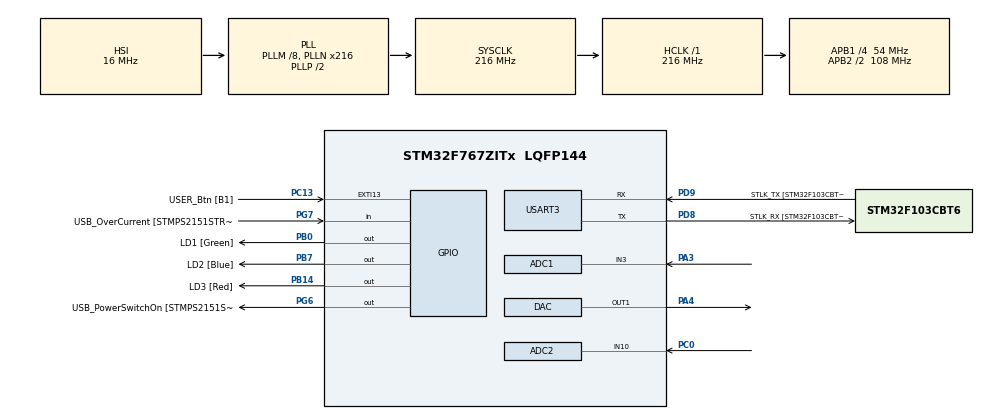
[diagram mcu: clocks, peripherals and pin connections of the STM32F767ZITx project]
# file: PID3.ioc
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ADC1.Channel-0\#ChannelRegularConversion=ADC_CHANNEL_3
ADC1.ClockPrescaler=ADC_CLOCK_SYNC_PCLK_DIV6
ADC1.NbrOfConversionFlag=1
ADC1.Rank-0\#ChannelRegularConversion=1
ADC1.SamplingTime-0\#ChannelRegularConversion=ADC_SAMPLETIME_3CYCLES
ADC1.master=1
ADC2.Channel-3\#ChannelRegularConversion=ADC_CHANNEL_10
ADC2.ClockPrescaler=ADC_CLOCK_SYNC_PCLK_DIV6
ADC2.NbrOfConversionFlag=1
ADC2.Rank-3\#ChannelRegularConversion=1
ADC2.SamplingTime-3\#ChannelRegularConversion=ADC_SAMPLETIME_3CYCLES
FREERTOS.Tasks01=defaultTask,0,128,StartDefaultTask,Default,NULL,Dynamic,NULL,NULL;ADCTASK,-2,128,STARTADCTASK,Default,NULL,Dynamic,NULL,NULL
FREERTOS.configUSE_NEWLIB_REENTRANT=1
Mcu.Family=STM32F7
Mcu.Name=STM32F767ZITx
Mcu.Package=LQFP144
NVIC.PriorityGroup=NVIC_PRIORITYGROUP_4
NVIC.TIM7_IRQn=true\:15\:0\:false\:false\:true\:false\:false\:true\:true
NVIC.TimeBase=TIM7_IRQn
NVIC.TimeBaseIP=TIM7
PA1.GPIO_Label=RMII_REF_CLK [LAN8742A-CZ-TR_REFCLK0]
PA1.Signal=ETH_REF_CLK
PA10.GPIO_Label=USB_ID
PA10.Signal=USB_OTG_FS_ID
PA11.GPIO_Label=USB_DM
PA11.Signal=USB_OTG_FS_DM
PA12.GPIO_Label=USB_DP
PA12.Signal=USB_OTG_FS_DP
PA13.GPIO_Label=TMS
PA13.Mode=Serial_Wire
PA13.Signal=SYS_JTMS-SWDIO
PA14.GPIO_Label=TCK
PA14.Mode=Serial_Wire
PA14.Signal=SYS_JTCK-SWCLK
PA2.GPIO_Label=RMII_MDIO [LAN8742A-CZ-TR_MDIO]
PA2.Signal=ETH_MDIO
PA3.Signal=ADCx_IN3
PA4.Signal=COMP_DAC1_group
PA7.GPIO_Label=RMII_CRS_DV [LAN8742A-CZ-TR_CRS_DV]
PA7.Signal=ETH_CRS_DV
PA8.GPIO_Label=USB_SOF [TP1]
PA8.Signal=USB_OTG_FS_SOF
PA9.GPIO_Label=USB_VBUS
PA9.Signal=USB_OTG_FS_VBUS
PB0.GPIO_Label=LD1 [Green]
PB0.Signal=GPIO_Output
PB13.GPIO_Label=RMII_TXD1 [LAN8742A-CZ-TR_TXD1]
PB13.Signal=ETH_TXD1
PB14.GPIO_Label=LD3 [Red]
PB14.Signal=GPIO_Output
PB3.GPIO_Label=SWO
PB3.Signal=SYS_JTDO-SWO
PB7.GPIO_Label=LD2 [Blue]
PB7.Signal=GPIO_Output
PC0.Signal=ADCx_IN10
PC1.GPIO_Label=RMII_MDC [LAN8742A-CZ-TR_MDC]
PC1.Signal=ETH_MDC
PC13.GPIO_Label=USER_Btn [B1]
PC13.Signal=GPXTI13
PC14/OSC32_IN.Mode=LSE-External-Oscillator
PC14/OSC32_IN.Signal=RCC_OSC32_IN
PC15/OSC32_OUT.Mode=LSE-External-Oscillator
PC15/OSC32_OUT.Signal=RCC_OSC32_OUT
PC4.GPIO_Label=RMII_RXD0 [LAN8742A-CZ-TR_RXD0]
PC4.Signal=ETH_RXD0
PC5.GPIO_Label=RMII_RXD1 [LAN8742A-CZ-TR_RXD1]
PC5.Signal=ETH_RXD1
PD8.GPIO_Label=STLK_RX [STM32F103CBT6_PA3]
PD8.Mode=Asynchronous
PD8.Signal=USART3_TX
PD9.GPIO_Label=STLK_TX [STM32F103CBT6_PA2]
PD9.Mode=Asynchronous
PD9.Signal=USART3_RX
PG11.GPIO_Label=RMII_TX_EN [LAN8742A-CZ-TR_TXEN]
PG11.Signal=ETH_TX_EN
PG13.GPIO_Label=RMII_TXD0 [LAN8742A-CZ-TR_TXD0]
PG13.Signal=ETH_TXD0
PG6.GPIO_Label=USB_PowerSwitchOn [STMPS2151STR_EN]
PG6.Signal=GPIO_Output
PG7.GPIO_Label=USB_OverCurrent [STMPS2151STR_FAULT]
PG7.Signal=GPIO_Input
PH0/OSC_IN.GPIO_Label=MCO [STM32F103CBT6_PA8]
PH0/OSC_IN.Mode=HSE-External-Clock-Source
PH0/OSC_IN.Signal=RCC_OSC_IN
PH1/OSC_OUT.Mode=HSE-External-Clock-Source
PH1/OSC_OUT.Signal=RCC_OSC_OUT
ProjectManager.HeapSize=0x200
ProjectManager.StackSize=0x400
ProjectManager.TargetToolchain=STM32CubeIDE
RCC.48MHZClocksFreq_Value=24000000
RCC.AHBFreq_Value=216000000
RCC.APB1CLKDivider=RCC_HCLK_DIV4
RCC.APB1Freq_Value=54000000
RCC.APB1TimFreq_Value=108000000
RCC.APB2CLKDivider=RCC_HCLK_DIV2
RCC.APB2Freq_Value=108000000
RCC.APB2TimFreq_Value=216000000
RCC.CortexFreq_Value=216000000
RCC.HCLKFreq_Value=216000000
RCC.HSE_VALUE=8000000
RCC.HSI_VALUE=16000000
RCC.PLLM=8
RCC.PLLMUL=RCC_PLL_MUL9
RCC.PLLN=216
RCC.PLLQ=4
RCC.PRESCALERUSB=RCC_USBCLKSOURCE_PLL_DIV1_5
RCC.SYSCLKFreq_VALUE=216000000
RCC.SYSCLKSource=RCC_SYSCLKSOURCE_PLLCLK
RCC.SYSCLKSourceVirtual=RCC_SYSCLKSOURCE_PLLCLK
RCC.USBFreq_Value=108000000
RCC.VCOOutputFreq_Value=432000000
SH.ADCx_IN10.0=ADC2_IN10,IN10
SH.ADCx_IN3.0=ADC1_IN3,IN3
SH.COMP_DAC1_group.0=DAC_OUT1,DAC_OUT1
TIM3.AutoReloadPreload=TIM_AUTORELOAD_PRELOAD_ENABLE
TIM3.Period=65535
TIM3.Prescaler=65535
USART3.VirtualMode-Asynchronous=VM_ASYNC
VP_FREERTOS_VS_CMSIS_V1.Mode=CMSIS_V1
VP_SYS_VS_tim7.Mode=TIM7
VP_TIM3_VS_ClockSourceINT.Mode=Internal
board=NUCLEO-F767ZI

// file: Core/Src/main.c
/* USER CODE BEGIN Header */
/**
  ******************************************************************************
  * @file           : main.c
  * @brief          : Main program body
  ******************************************************************************
  * @attention
  *
  * Copyright (c) 2022 STMicroelectronics.
  * All rights reserved.
  *
  * This software is licensed under terms that can be found in the LICENSE file
  * in the root directory of this software component.
  * If no LICENSE file comes with this software, it is provided AS-IS.
  *
  ******************************************************************************
  */
/* USER CODE END Header */
#include "main.h"
#include "cmsis_os.h"

 ADC_HandleTypeDef hadc1;
ADC_HandleTypeDef hadc2;

DAC_HandleTypeDef hdac;

TIM_HandleTypeDef htim3;

UART_HandleTypeDef huart3;

osThreadId defaultTaskHandle;
osThreadId ADCTASKHandle;
/* USER CODE BEGIN PV */
float SetPoint,Feedback;
float DAC_VAL =0;
float currentcount,previouscount,countdifference;
float KP,KI,KD;
float error,integral,previous_error,derivative =0;

/* USER CODE END PV */

void SystemClock_Config(void);
static void MX_GPIO_Init(void);
static void MX_USART3_UART_Init(void);
static void MX_ADC1_Init(void);
static void MX_ADC2_Init(void);
static void MX_DAC_Init(void);
static void MX_TIM3_Init(void);
void StartDefaultTask(void const * argument);
void STARTADCTASK(void const * argument);

/* USER CODE BEGIN 0 */

#ifdef __GNUC__
/* With GCC, small printf (option LD Linker->Libraries->Small printf
   set to 'Yes') calls __io_putchar() */
#define PUTCHAR_PROTOTYPE int __io_putchar(int ch)
#else
#define PUTCHAR_PROTOTYPE int fputc(int ch, FILE *f)
#endif /* __GNUC__ */

PUTCHAR_PROTOTYPE
{
  /* Place your implementation of fputc here */
  /* e.g. write a character to the USART3 and Loop until the end of transmission */
  HAL_UART_Transmit(&huart3, (uint8_t *)&ch, 1, 0xFFFF);

  return ch;

}

/* USER CODE END 0 */

int main(void)
{

  /* MCU Configuration--------------------------------------------------------*/

  /* Reset of all peripherals, Initializes the Flash interface and the Systick. */
  HAL_Init();

  /* Configure the system clock */
  SystemClock_Config();

  /* Initialize all configured peripherals */
  MX_GPIO_Init();
  MX_USART3_UART_Init();
  MX_ADC1_Init();
  MX_ADC2_Init();
  MX_DAC_Init();
  MX_TIM3_Init();

  /* Create the thread(s) */
  /* definition and creation of defaultTask */
  osThreadDef(defaultTask, StartDefaultTask, osPriorityNormal, 0, 128);
  defaultTaskHandle = osThreadCreate(osThread(defaultTask), NULL);

  /* definition and creation of ADCTASK */
  osThreadDef(ADCTASK, STARTADCTASK, osPriorityLow, 0, 128);
  ADCTASKHandle = osThreadCreate(osThread(ADCTASK), NULL);

  /* Start scheduler */
  osKernelStart();

  /* We should never get here as control is now taken by the scheduler */
  /* Infinite loop */
  while (1)
  {

  }
}

void SystemClock_Config(void)
{
  RCC_OscInitTypeDef RCC_OscInitStruct = {0};
  RCC_ClkInitTypeDef RCC_ClkInitStruct = {0};

  /** Configure LSE Drive Capability
  */
  HAL_PWR_EnableBkUpAccess();

  /** Configure the main internal regulator output voltage
  */
  __HAL_RCC_PWR_CLK_ENABLE();
  __HAL_PWR_VOLTAGESCALING_CONFIG(PWR_REGULATOR_VOLTAGE_SCALE1);

  /** Initializes the RCC Oscillators according to the specified parameters
  * in the RCC_OscInitTypeDef structure.
  */
  RCC_OscInitStruct.OscillatorType = RCC_OSCILLATORTYPE_HSI;
  RCC_OscInitStruct.HSIState = RCC_HSI_ON;
  RCC_OscInitStruct.HSICalibrationValue = RCC_HSICALIBRATION_DEFAULT;
  RCC_OscInitStruct.PLL.PLLState = RCC_PLL_ON;
  RCC_OscInitStruct.PLL.PLLSource = RCC_PLLSOURCE_HSI;
  RCC_OscInitStruct.PLL.PLLM = 8;
  RCC_OscInitStruct.PLL.PLLN = 216;
  RCC_OscInitStruct.PLL.PLLP = RCC_PLLP_DIV2;
  RCC_OscInitStruct.PLL.PLLQ = 4;
  RCC_OscInitStruct.PLL.PLLR = 2;
  if (HAL_RCC_OscConfig(&RCC_OscInitStruct) != HAL_OK)
  {
    Error_Handler();
  }

  /** Activate the Over-Drive mode
  */
  if (HAL_PWREx_EnableOverDrive() != HAL_OK)
  {
    Error_Handler();
  }

  /** Initializes the CPU, AHB and APB buses clocks
  */
  RCC_ClkInitStruct.ClockType = RCC_CLOCKTYPE_HCLK|RCC_CLOCKTYPE_SYSCLK
                              |RCC_CLOCKTYPE_PCLK1|RCC_CLOCKTYPE_PCLK2;
  RCC_ClkInitStruct.SYSCLKSource = RCC_SYSCLKSOURCE_PLLCLK;
  RCC_ClkInitStruct.AHBCLKDivider = RCC_SYSCLK_DIV1;
  RCC_ClkInitStruct.APB1CLKDivider = RCC_HCLK_DIV4;
  RCC_ClkInitStruct.APB2CLKDivider = RCC_HCLK_DIV2;

  if (HAL_RCC_ClockConfig(&RCC_ClkInitStruct, FLASH_LATENCY_7) != HAL_OK)
  {
    Error_Handler();
  }
}

static void MX_ADC1_Init(void)
{

  ADC_ChannelConfTypeDef sConfig = {0};

  /** Configure the global features of the ADC (Clock, Resolution, Data Alignment and number of conversion)
  */
  hadc1.Instance = ADC1;
  hadc1.Init.ClockPrescaler = ADC_CLOCK_SYNC_PCLK_DIV6;
  hadc1.Init.Resolution = ADC_RESOLUTION_12B;
  hadc1.Init.ScanConvMode = ADC_SCAN_DISABLE;
  hadc1.Init.ContinuousConvMode = DISABLE;
  hadc1.Init.DiscontinuousConvMode = DISABLE;
  hadc1.Init.ExternalTrigConvEdge = ADC_EXTERNALTRIGCONVEDGE_NONE;
  hadc1.Init.ExternalTrigConv = ADC_SOFTWARE_START;
  hadc1.Init.DataAlign = ADC_DATAALIGN_RIGHT;
  hadc1.Init.NbrOfConversion = 1;
  hadc1.Init.DMAContinuousRequests = DISABLE;
  hadc1.Init.EOCSelection = ADC_EOC_SINGLE_CONV;
  if (HAL_ADC_Init(&hadc1) != HAL_OK)
  {
    Error_Handler();
  }

  /** Configure for the selected ADC regular channel its corresponding rank in the sequencer and its sample time.
  */
  sConfig.Channel = ADC_CHANNEL_3;
  sConfig.Rank = ADC_REGULAR_RANK_1;
  sConfig.SamplingTime = ADC_SAMPLETIME_3CYCLES;
  if (HAL_ADC_ConfigChannel(&hadc1, &sConfig) != HAL_OK)
  {
    Error_Handler();
  }

}

static void MX_ADC2_Init(void)
{

  ADC_ChannelConfTypeDef sConfig = {0};

  /** Configure the global features of the ADC (Clock, Resolution, Data Alignment and number of conversion)
  */
  hadc2.Instance = ADC2;
  hadc2.Init.ClockPrescaler = ADC_CLOCK_SYNC_PCLK_DIV6;
  hadc2.Init.Resolution = ADC_RESOLUTION_12B;
  hadc2.Init.ScanConvMode = ADC_SCAN_DISABLE;
  hadc2.Init.ContinuousConvMode = DISABLE;
  hadc2.Init.DiscontinuousConvMode = DISABLE;
  hadc2.Init.ExternalTrigConvEdge = ADC_EXTERNALTRIGCONVEDGE_NONE;
  hadc2.Init.ExternalTrigConv = ADC_SOFTWARE_START;
  hadc2.Init.DataAlign = ADC_DATAALIGN_RIGHT;
  hadc2.Init.NbrOfConversion = 1;
  hadc2.Init.DMAContinuousRequests = DISABLE;
  hadc2.Init.EOCSelection = ADC_EOC_SINGLE_CONV;
  if (HAL_ADC_Init(&hadc2) != HAL_OK)
  {
    Error_Handler();
  }

  /** Configure for the selected ADC regular channel its corresponding rank in the sequencer and its sample time.
  */
  sConfig.Channel = ADC_CHANNEL_10;
  sConfig.Rank = ADC_REGULAR_RANK_1;
  sConfig.SamplingTime = ADC_SAMPLETIME_3CYCLES;
  if (HAL_ADC_ConfigChannel(&hadc2, &sConfig) != HAL_OK)
  {
    Error_Handler();
  }

}

static void MX_DAC_Init(void)
{

  DAC_ChannelConfTypeDef sConfig = {0};

  /** DAC Initialization
  */
  hdac.Instance = DAC;
  if (HAL_DAC_Init(&hdac) != HAL_OK)
  {
    Error_Handler();
  }

  /** DAC channel OUT1 config
  */
  sConfig.DAC_Trigger = DAC_TRIGGER_NONE;
  sConfig.DAC_OutputBuffer = DAC_OUTPUTBUFFER_ENABLE;
  if (HAL_DAC_ConfigChannel(&hdac, &sConfig, DAC_CHANNEL_1) != HAL_OK)
  {
    Error_Handler();
  }

}

static void MX_TIM3_Init(void)
{

  TIM_ClockConfigTypeDef sClockSourceConfig = {0};
  TIM_MasterConfigTypeDef sMasterConfig = {0};

  htim3.Instance = TIM3;
  htim3.Init.Prescaler = 65535;
  htim3.Init.CounterMode = TIM_COUNTERMODE_UP;
  htim3.Init.Period = 65535;
  htim3.Init.ClockDivision = TIM_CLOCKDIVISION_DIV1;
  htim3.Init.AutoReloadPreload = TIM_AUTORELOAD_PRELOAD_ENABLE;
  if (HAL_TIM_Base_Init(&htim3) != HAL_OK)
  {
    Error_Handler();
  }
  sClockSourceConfig.ClockSource = TIM_CLOCKSOURCE_INTERNAL;
  if (HAL_TIM_ConfigClockSource(&htim3, &sClockSourceConfig) != HAL_OK)
  {
    Error_Handler();
  }
  sMasterConfig.MasterOutputTrigger = TIM_TRGO_RESET;
  sMasterConfig.MasterSlaveMode = TIM_MASTERSLAVEMODE_DISABLE;
  if (HAL_TIMEx_MasterConfigSynchronization(&htim3, &sMasterConfig) != HAL_OK)
  {
    Error_Handler();
  }

}

static void MX_USART3_UART_Init(void)
{

  huart3.Instance = USART3;
  huart3.Init.BaudRate = 115200;
  huart3.Init.WordLength = UART_WORDLENGTH_8B;
  huart3.Init.StopBits = UART_STOPBITS_1;
  huart3.Init.Parity = UART_PARITY_NONE;
  huart3.Init.Mode = UART_MODE_TX_RX;
  huart3.Init.HwFlowCtl = UART_HWCONTROL_NONE;
  huart3.Init.OverSampling = UART_OVERSAMPLING_16;
  huart3.Init.OneBitSampling = UART_ONE_BIT_SAMPLE_DISABLE;
  huart3.AdvancedInit.AdvFeatureInit = UART_ADVFEATURE_NO_INIT;
  if (HAL_UART_Init(&huart3) != HAL_OK)
  {
    Error_Handler();
  }

}

static void MX_GPIO_Init(void)
{
  GPIO_InitTypeDef GPIO_InitStruct = {0};

  /* GPIO Ports Clock Enable */
  __HAL_RCC_GPIOC_CLK_ENABLE();
  __HAL_RCC_GPIOH_CLK_ENABLE();
  __HAL_RCC_GPIOA_CLK_ENABLE();
  __HAL_RCC_GPIOB_CLK_ENABLE();
  __HAL_RCC_GPIOD_CLK_ENABLE();
  __HAL_RCC_GPIOG_CLK_ENABLE();

  /*Configure GPIO pin Output Level */
  HAL_GPIO_WritePin(GPIOB, LD1_Pin|LD3_Pin|LD2_Pin, GPIO_PIN_RESET);

  /*Configure GPIO pin Output Level */
  HAL_GPIO_WritePin(USB_PowerSwitchOn_GPIO_Port, USB_PowerSwitchOn_Pin, GPIO_PIN_RESET);

  /*Configure GPIO pin : USER_Btn_Pin */
  GPIO_InitStruct.Pin = USER_Btn_Pin;
  GPIO_InitStruct.Mode = GPIO_MODE_IT_RISING;
  GPIO_InitStruct.Pull = GPIO_NOPULL;
  HAL_GPIO_Init(USER_Btn_GPIO_Port, &GPIO_InitStruct);

  /*Configure GPIO pins : RMII_MDC_Pin RMII_RXD0_Pin RMII_RXD1_Pin */
  GPIO_InitStruct.Pin = RMII_MDC_Pin|RMII_RXD0_Pin|RMII_RXD1_Pin;
  GPIO_InitStruct.Mode = GPIO_MODE_AF_PP;
  GPIO_InitStruct.Pull = GPIO_NOPULL;
  GPIO_InitStruct.Speed = GPIO_SPEED_FREQ_VERY_HIGH;
  GPIO_InitStruct.Alternate = GPIO_AF11_ETH;
  HAL_GPIO_Init(GPIOC, &GPIO_InitStruct);

  /*Configure GPIO pins : RMII_REF_CLK_Pin RMII_MDIO_Pin RMII_CRS_DV_Pin */
  GPIO_InitStruct.Pin = RMII_REF_CLK_Pin|RMII_MDIO_Pin|RMII_CRS_DV_Pin;
  GPIO_InitStruct.Mode = GPIO_MODE_AF_PP;
  GPIO_InitStruct.Pull = GPIO_NOPULL;
  GPIO_InitStruct.Speed = GPIO_SPEED_FREQ_VERY_HIGH;
  GPIO_InitStruct.Alternate = GPIO_AF11_ETH;
  HAL_GPIO_Init(GPIOA, &GPIO_InitStruct);

  /*Configure GPIO pins : LD1_Pin LD3_Pin LD2_Pin */
  GPIO_InitStruct.Pin = LD1_Pin|LD3_Pin|LD2_Pin;
  GPIO_InitStruct.Mode = GPIO_MODE_OUTPUT_PP;
  GPIO_InitStruct.Pull = GPIO_NOPULL;
  GPIO_InitStruct.Speed = GPIO_SPEED_FREQ_LOW;
  HAL_GPIO_Init(GPIOB, &GPIO_InitStruct);

  /*Configure GPIO pin : RMII_TXD1_Pin */
  GPIO_InitStruct.Pin = RMII_TXD1_Pin;
  GPIO_InitStruct.Mode = GPIO_MODE_AF_PP;
  GPIO_InitStruct.Pull = GPIO_NOPULL;
  GPIO_InitStruct.Speed = GPIO_SPEED_FREQ_VERY_HIGH;
  GPIO_InitStruct.Alternate = GPIO_AF11_ETH;
  HAL_GPIO_Init(RMII_TXD1_GPIO_Port, &GPIO_InitStruct);

  /*Configure GPIO pin : USB_PowerSwitchOn_Pin */
  GPIO_InitStruct.Pin = USB_PowerSwitchOn_Pin;
  GPIO_InitStruct.Mode = GPIO_MODE_OUTPUT_PP;
  GPIO_InitStruct.Pull = GPIO_NOPULL;
  GPIO_InitStruct.Speed = GPIO_SPEED_FREQ_LOW;
  HAL_GPIO_Init(USB_PowerSwitchOn_GPIO_Port, &GPIO_InitStruct);

  /*Configure GPIO pin : USB_OverCurrent_Pin */
  GPIO_InitStruct.Pin = USB_OverCurrent_Pin;
  GPIO_InitStruct.Mode = GPIO_MODE_INPUT;
  GPIO_InitStruct.Pull = GPIO_NOPULL;
  HAL_GPIO_Init(USB_OverCurrent_GPIO_Port, &GPIO_InitStruct);

  /*Configure GPIO pins : USB_SOF_Pin USB_ID_Pin USB_DM_Pin USB_DP_Pin */
  GPIO_InitStruct.Pin = USB_SOF_Pin|USB_ID_Pin|USB_DM_Pin|USB_DP_Pin;
  GPIO_InitStruct.Mode = GPIO_MODE_AF_PP;
  GPIO_InitStruct.Pull = GPIO_NOPULL;
  GPIO_InitStruct.Speed = GPIO_SPEED_FREQ_VERY_HIGH;
  GPIO_InitStruct.Alternate = GPIO_AF10_OTG_FS;
  HAL_GPIO_Init(GPIOA, &GPIO_InitStruct);

  /*Configure GPIO pin : USB_VBUS_Pin */
  GPIO_InitStruct.Pin = USB_VBUS_Pin;
  GPIO_InitStruct.Mode = GPIO_MODE_INPUT;
  GPIO_InitStruct.Pull = GPIO_NOPULL;
  HAL_GPIO_Init(USB_VBUS_GPIO_Port, &GPIO_InitStruct);

  /*Configure GPIO pins : RMII_TX_EN_Pin RMII_TXD0_Pin */
  GPIO_InitStruct.Pin = RMII_TX_EN_Pin|RMII_TXD0_Pin;
  GPIO_InitStruct.Mode = GPIO_MODE_AF_PP;
  GPIO_InitStruct.Pull = GPIO_NOPULL;
  GPIO_InitStruct.Speed = GPIO_SPEED_FREQ_VERY_HIGH;
  GPIO_InitStruct.Alternate = GPIO_AF11_ETH;
  HAL_GPIO_Init(GPIOG, &GPIO_InitStruct);

}

void StartDefaultTask(void const * argument)
{
  /* USER CODE BEGIN 5 */
  /* Infinite loop */
  for(;;)
  {
	  HAL_GPIO_TogglePin(GPIOB, LD3_Pin|LD2_Pin|LD1_Pin);
    osDelay(200);
  }
  /* USER CODE END 5 */
}

void STARTADCTASK(void const * argument)
{
  /* USER CODE BEGIN STARTADCTASK */

	KP=0;
	KI=0;
	KD=0;

	 /* Infinite loop */
  for(;;)
  {
		HAL_ADC_Start(&hadc1);
		HAL_ADC_PollForConversion(&hadc1, 10);
		SetPoint = (float)HAL_ADC_GetValue(&hadc1);
		HAL_ADC_Stop(&hadc1);
	    if(SetPoint >4050)
	    {
	    	SetPoint = 4050;

	    }

	    HAL_DAC_Start(&hdac, DAC_CHANNEL_1);
	   	HAL_DAC_SetValue(&hdac, DAC_CHANNEL_1, DAC_ALIGN_12B_R, (uint16_t)DAC_VAL);

	   	HAL_ADC_Start(&hadc2);
	   	HAL_ADC_PollForConversion(&hadc2, 10);
	   	Feedback = (float)HAL_ADC_GetValue(&hadc2);

	   	HAL_ADC_Stop(&hadc2);

	 	HAL_TIM_Base_Stop(&htim3);
		currentcount = __HAL_TIM_GetCounter(&htim3);
		countdifference = currentcount-previouscount;
		previouscount = currentcount;
		currentcount =0;

		error = SetPoint - Feedback;

		if(error < (0.9*SetPoint))
		{

			KP=KP+0.0001;

		}
		if (error>(0.9*SetPoint))
		{
			KP =KP/2;
			KI =KI+0.0001;

		}
		if (error>(0.97*SetPoint))
		{
			KD =KP;
			KI=KI;
			KD=KD+0.0001;
		}
		if (error>SetPoint)
		{
			KP =KD=KI=0;
		}

		integral = integral + error * countdifference;
		derivative = (error - previous_error) / countdifference;
		DAC_VAL = (KP * error) + (KI * integral) + (KD * derivative);
		previous_error = error;

		printf("INPUT : %d , OUTPUT : %d\r\n",(uint16_t)SetPoint,(uint16_t)Feedback);

		HAL_TIM_Base_Start(&htim3);

    osDelay(10);
  }
  /* USER CODE END STARTADCTASK */
}

void HAL_TIM_PeriodElapsedCallback(TIM_HandleTypeDef *htim)
{
  if (htim->Instance == TIM7) {
    HAL_IncTick();
  }
}

void Error_Handler(void)
{
  __disable_irq();
  while (1)
  {
  }
}
